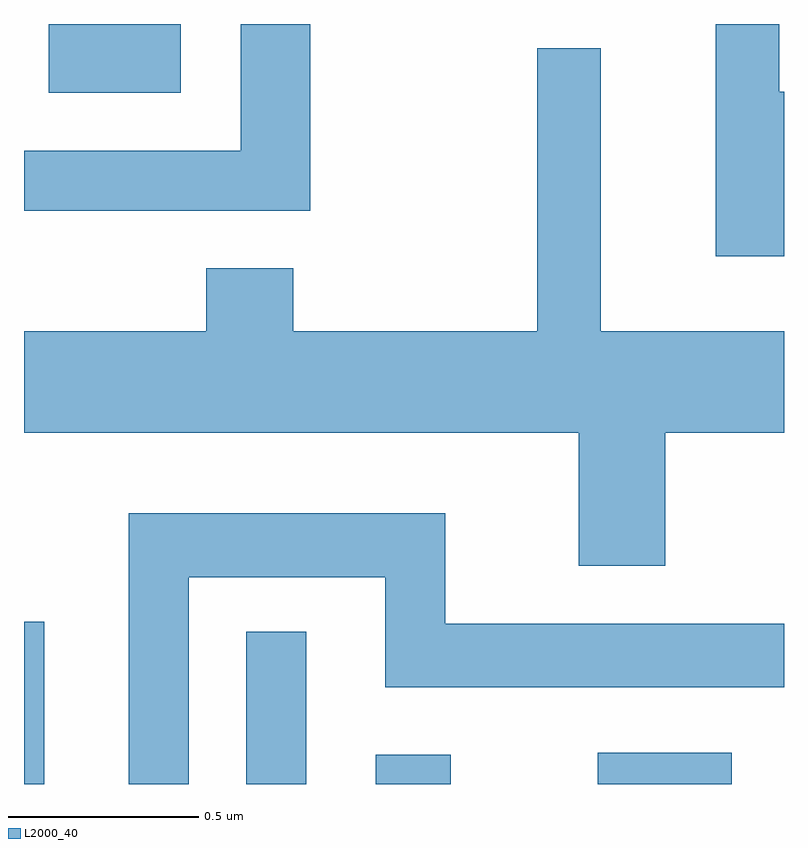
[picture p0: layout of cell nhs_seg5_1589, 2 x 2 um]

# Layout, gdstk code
import gdstk
lib = gdstk.Library(unit=1e-6, precision=1e-09)
def R(c, l, rs):  # rectangles x0, y0, x1, y1
    for r in rs: c.add(gdstk.rectangle(r[:2], r[2:], *l))
def P(c, l, *ps):  # polygons
    for p in ps: c.add(gdstk.Polygon(p, *l))
L2000_40 = (2000, 40)

nhs_seg5_1589 = lib.new_cell('nhs_seg5_1589')
R(nhs_seg5_1589, L2000_40, [(196.611,1478.072,196.664,1478.499), (197.196,1478.072,197.354,1478.473), (197.536,1478.072,197.734,1478.149), (198.121,1478.072,198.474,1478.154), (196.676,1479.891,197.024,1480.072)])
P(nhs_seg5_1589, L2000_40, [(197.364,1480.072),(197.181,1480.072),(197.181,1479.739),(196.611,1479.739),(196.611,1479.581),(197.364,1479.581)],
  [(198.611,1479.894),(198.599,1479.894),(198.599,1480.072),(198.431,1480.072),(198.431,1479.461),(198.611,1479.461)],
  [(198.299,1478.996),(198.611,1478.996),(198.611,1479.264),(198.129,1479.264),(198.129,1480.008),(197.961,1480.008),(197.961,1479.264),(197.319,1479.264),(197.319,1479.429),(197.091,1479.429),(197.091,1479.264),(196.611,1479.264),(196.611,1478.996),(198.071,1478.996),(198.071,1478.646),(198.299,1478.646)],
  [(197.044,1478.616),(197.561,1478.616),(197.561,1478.326),(198.611,1478.326),(198.611,1478.494),(197.719,1478.494),(197.719,1478.784),(196.886,1478.784),(196.886,1478.072),(197.044,1478.072)])

lib.write_gds('nhs_seg5_1589.gds')
